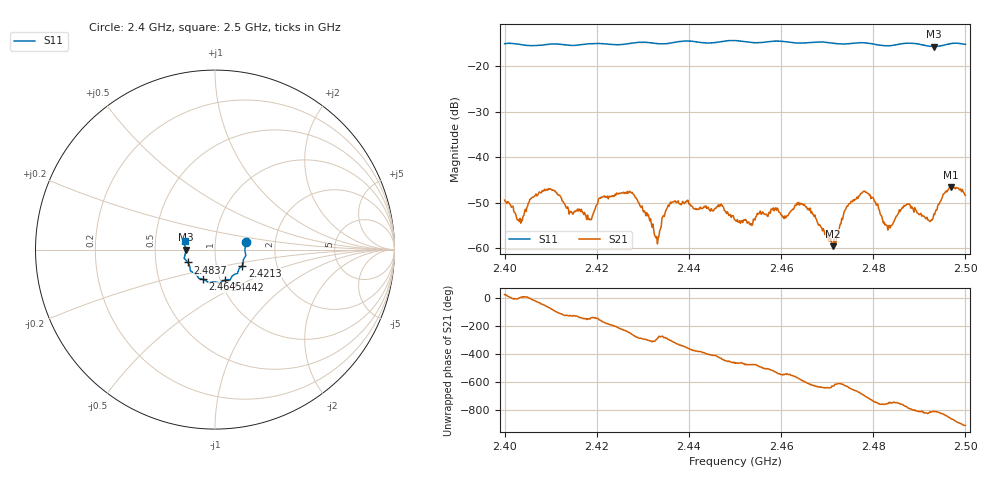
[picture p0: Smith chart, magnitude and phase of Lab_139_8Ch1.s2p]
# Hz S RI R 50
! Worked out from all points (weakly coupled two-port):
!   601 points, 2.4 GHz to 2.5 GHz, reference 50 ohm
!   highest |S21| = -46.52 dB at 2.4968 GHz (marker M1); lowest = -59.5 dB at 2.4713 GHz (marker M2)
!   lowest |S11| = -15.7 dB at 2.4932 GHz (marker M3), VSWR 1.39, Z = 35.9 - j0.0492 ohm
!   |S11| at or under -10 dB: start of sweep to end of sweep
!   S12 and S22 are empty: the file has one direction only
!   S11 on the Smith chart (normalised r, x): 2.4 GHz: 1.41, +0.12; 2.4213 GHz: 1.33, -0.25; 2.4442 GHz: 1.05, -0.37; 2.4645 GHz: 0.83, -0.29; 2.4837 GHz: 0.73, -0.11; 2.5 GHz: 0.71, +0.07
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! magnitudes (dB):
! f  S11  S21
! 2.4 GHz  -15.1  -49.4
! 2.4033 GHz  -15.3  -53.4
! 2.41 GHz  -15.2  -47.0
! 2.4167 GHz  -15.3  -51.4
! 2.4187 GHz  -15.1  -53.6
! 2.4213 GHz  -15.1  -48.7
! 2.4277 GHz  -15.0  -47.7
! 2.4333 GHz  -15.1  -57.7
! 2.4365 GHz  -14.9  -49.9
! 2.4442 GHz  -15.0  -50.9
! 2.45 GHz  -14.4  -53.8
! 2.4645 GHz  -15.0  -50.3
! 2.4667 GHz  -14.8  -52.0
! 2.4713 GHz  -15.0  -59.5
! 2.4742 GHz  -15.1  -51.0
! 2.4778 GHz  -14.9  -47.5
! 2.4833 GHz  -15.6  -55.1
! 2.4837 GHz  -15.5  -55.5
! 2.4873 GHz  -15.0  -50.3
! 2.4932 GHz  -15.7  -52.4
! 2.4968 GHz  -15.1  -46.5
! 2.5 GHz  -15.2  -48.4
